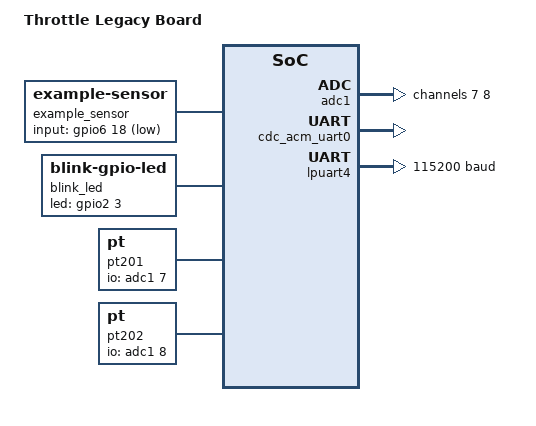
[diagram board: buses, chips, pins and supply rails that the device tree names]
/*
LPL throttle dev 2.5 PCB, from spring/summer 2025.
*/

/dts-v1/;

#include <../boards/pjrc/teensy4/teensy41.dts>

/ {
	model = "Throttle Legacy Board";

	chosen {
		zephyr,console = &cdc_acm_uart0;
	};

	example_sensor: example-sensor {
		compatible = "zephyr,example-sensor";
		input-gpios = <&gpio6 18 (GPIO_PULL_UP | GPIO_ACTIVE_LOW)>;
	};

	blink_led: blink-led {
		compatible = "blink-gpio-led";
		led-gpios = <&gpio2 3 GPIO_ACTIVE_HIGH>;
		blink-period-ms = <1000>;
	};

	pt201 {
		compatible = "pt";
		io-channels = <&adc1 7>; // A0 -> AD_B1_02 -> ADC0,7
	};

	pt202 {
		compatible = "pt";
		io-channels = <&adc1 8>; // A1 -> AD_B1_03 -> ADC0,8
	};
};

&adc1 {
	status = "okay";
	#address-cells = <1>;
	#size-cells = <0>;

	channel@7 {
		reg = <7>;
		zephyr,gain = "ADC_GAIN_1";
		zephyr,reference = "ADC_REF_INTERNAL";
		zephyr,acquisition-time = <ADC_ACQ_TIME_DEFAULT>;
		//		zephyr,input-positive = <NRF_SAADC_AIN0>; /* P0.02 for nRF52xx, P0.04 for nRF5340 */
		zephyr,resolution = <12>; // Max for chip
		zephyr,oversampling = <5>; // 32x averaging
	};

	channel@8 {
		reg = <8>;
		zephyr,gain = "ADC_GAIN_1";
		zephyr,reference = "ADC_REF_INTERNAL";
		zephyr,acquisition-time = <ADC_ACQ_TIME_DEFAULT>;
		//		zephyr,input-positive = <NRF_SAADC_AIN0>; /* P0.02 for nRF52xx, P0.04 for nRF5340 */
		zephyr,resolution = <12>; // Max for chip
		zephyr,oversampling = <5>; // 32x averaging
	};
};

&zephyr_udc0 {
	cdc_acm_uart0: cdc_acm_uart0 {
		compatible = "zephyr,cdc-acm-uart";
		label = "CDC_ACM_0";
	};
};

&lpuart6 {
	status = "disabled";
};

&lpuart4 {
	status = "okay";
	current-speed = <115200>;
};
